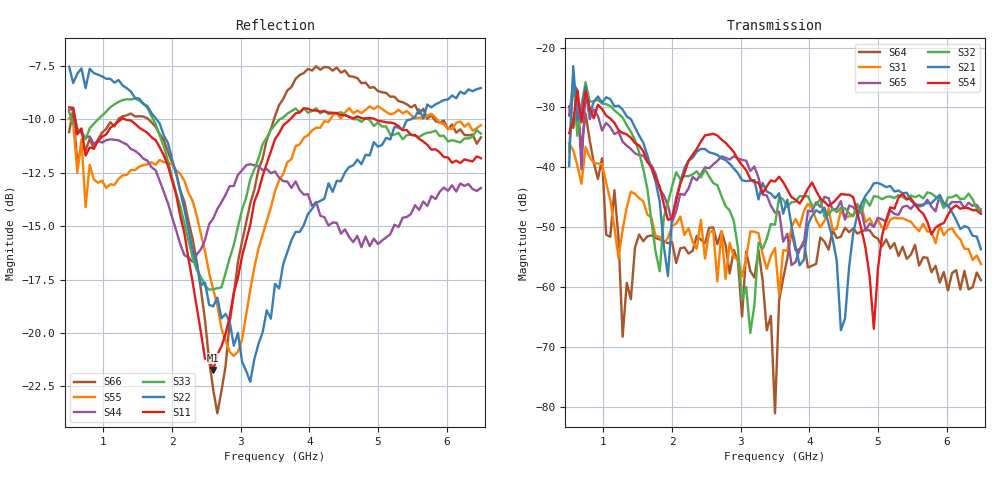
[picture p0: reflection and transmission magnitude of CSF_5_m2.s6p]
!Keysight Technologies,M9804A,MY58100912,A.14.10.03
!Date: Thursday, April 27, 2023 10:28:33
!Correction: S11(C  6-Port  )
!S12(C  6-Port  )
!S13(C  6-Port  )
!S14(C  6-Port  )
!S15(C  6-Port  )
!S16(C  6-Port  )
!S21(C  6-Port  )
!S22(C  6-Port  )
!S23(C  6-Port  )
!S24(C  6-Port  )
!S25(C  6-Port  )
!S26(C  6-Port  )
!S31(C  6-Port  )
!S32(C  6-Port  )
!S33(C  6-Port  )
!S34(C  6-Port  )
!S35(C  6-Port  )
!S36(C  6-Port  )
!S41(C  6-Port  )
!S42(C  6-Port  )
!S43(C  6-Port  )
!S44(C  6-Port  )
!S45(C  6-Port  )
!S46(C  6-Port  )
!S51(C  6-Port  )
!S52(C  6-Port  )
!S53(C  6-Port  )
!S54(C  6-Port  )
!S55(C  6-Port  )
!S56(C  6-Port  )
!S61(C  6-Port  )
!S62(C  6-Port  )
!S63(C  6-Port  )
!S64(C  6-Port  )
!S65(C  6-Port  )
!S66(C  6-Port  )
!S6P File: Measurement: :
# Hz S  RI  R 50
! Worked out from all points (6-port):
!   101 points, 500 MHz to 6.5 GHz, reference 50 ohm
!   strongest paths, dB at 500 MHz, 2 GHz, 3.5 GHz, 5 GHz, 6.5 GHz:
!     S54: -34.3, -48.5, -42.4, -57.0, -47.7
!     S21: -39.8, -48.4, -45.1, -42.6, -53.7
!     S32: -37.5, -43.2, -49.6, -44.9, -47.0
!     S65: -31.3, -49.2, -47.6, -48.4, -47.3
!     S31: -36.0, -49.7, -53.4, -48.7, -56.1
!     S64: -29.8, -52.4, -81.0, -51.9, -58.8
!   lowest |S11| = -21.7 dB at 2.6 GHz (marker M1), VSWR 1.18, Z = 42.7 + j1.97 ohm
!   |S11| at or under -10 dB: 586.2 MHz to 1.258 GHz (671.4 MHz wide, 72.8 % of centre); 1.321 GHz to 3.719 GHz (2.398 GHz wide, 95.2 % of centre); 4.964 GHz to end of sweep
